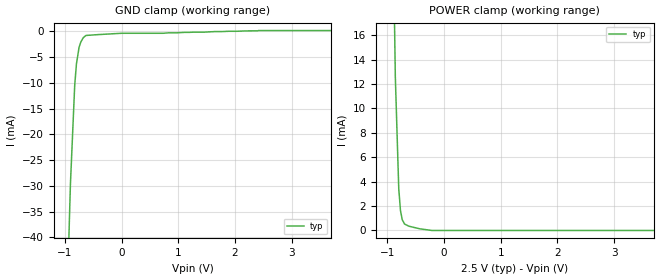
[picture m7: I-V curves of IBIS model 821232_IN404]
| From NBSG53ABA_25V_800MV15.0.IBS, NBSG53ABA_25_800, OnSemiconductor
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| COPYRIGHT(C) MENTOR GRAPHICS CORPORATION 2002 ALL
| RIGHTS RESERVED. THIS WORK CONTAINS PROPRIETARY
| INFORMATION WHICH IS THE PROPERTY OF MENTOR GRAPHICS
| CORPORATION OR ITS LICENSORS. USE OF THESE MATERIALS
| IS SUBJECT TO THE TERMS BELOW.
| USE: YOU MAY USE IBIS MODELS SOLELY FOR DEVELOPING
| PRINTED CIRCUIT BOARD DESIGNS. NO OTHER USE OR
| DISTRIBUTION OF THESE MATERIALS IS PERMITTED.
| Model Application Version 1.89 2/18/99.
[Model] 821232_IN404
Model_type Input
Vinl = 200.0mV
Vinh = 1.200V
C_comp 1.000pF NA NA
| variable typ   min   max
[Voltage Range] 2.500V NA NA
[GND Clamp Reference] 0.000V NA NA
[POWER Clamp Reference] 2.500V NA NA
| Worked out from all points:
|   GND clamp passes 1 mA (typ) near -0.65 V on its own axis
|   POWER clamp passes 1 mA (typ) near -0.74 V on its own axis
[GND Clamp]
-2.5V     -726.7mA   NA         NA
-1.034V   -80.09mA   NA         NA
-902.1mV  -29.73mA   NA         NA
-826.4mV  -10.5mA    NA         NA
-795.8mV  -6.322mA   NA         NA
-749.9mV  -3.131mA   NA         NA
-719.7mV  -2.094mA   NA         NA
-674.1mV  -1.21mA    NA         NA
-628.3mV  -791uA     NA         NA
195.4uV   -365.7uA   NA         NA
2.417V    162.6uA    NA         NA
5V        162.6uA    NA         NA
[POWER Clamp]
-2.5V     525.9mA    NA         NA
-859.6mV  12.6mA     NA         NA
-798.9mV  3.41mA     NA         NA
-768.4mV  1.626mA    NA         NA
-737.7mV  882.9uA    NA         NA
-697.3mV  530.9uA    NA         NA
-621.2mV  349.7uA    NA         NA
-423.6mV  132.7uA    NA         NA
-211.8mV  0A         NA         NA
5V        0A         NA         NA
